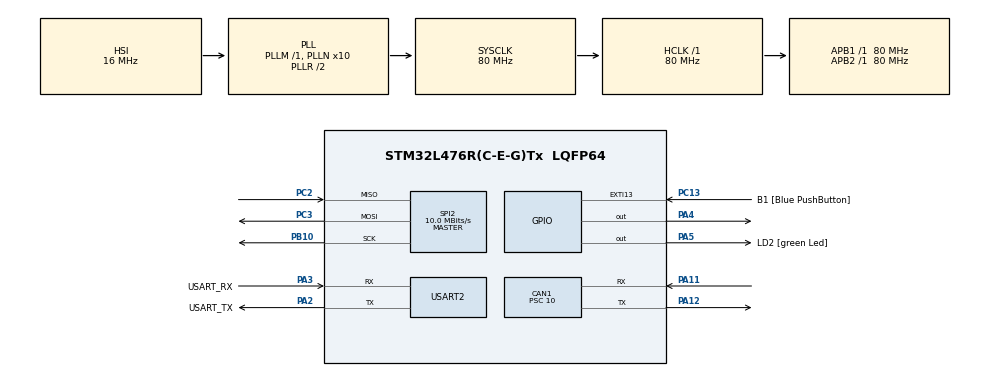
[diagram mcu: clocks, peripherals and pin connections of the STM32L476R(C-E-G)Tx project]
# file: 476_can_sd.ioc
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Mcu.Family=STM32L4
PC3.Mode=Full_Duplex_Master
PA2.GPIO_PuPd=GPIO_NOPULL
RCC.CortexFreq_Value=80000000
FATFS._USE_LFN=1
SPI2.VirtualType=VM_MASTER
PB10.Mode=Full_Duplex_Master
PH0-OSC_IN\ (PH0).Signal=RCC_OSC_IN
PA3.GPIO_PuPd=GPIO_NOPULL
PA2.GPIO_Speed=GPIO_SPEED_FREQ_VERY_HIGH
PA11.Mode=CAN_Activate
PC15-OSC32_OUT\ (PC15).Mode=LSE-External-Oscillator
PC13.GPIO_Label=B1 [Blue PushButton]
PA3.GPIO_Speed=GPIO_SPEED_FREQ_VERY_HIGH
RCC.SYSCLKSource=RCC_SYSCLKSOURCE_PLLCLK
ProjectManager.StackSize=0x400
PB3\ (JTDO-TRACESWO).Signal=SYS_JTDO-SWO
PC14-OSC32_IN\ (PC14).Mode=LSE-External-Oscillator
PA14\ (JTCK-SWCLK).Signal=SYS_JTCK-SWCLK
PA12.Signal=CAN1_TX
RCC.HCLKFreq_Value=80000000
RCC.APB2TimFreq_Value=80000000
PC3.Signal=SPI2_MOSI
RCC.AHBFreq_Value=80000000
RCC.PREFETCH_ENABLE=1
SPI2.BaudRatePrescaler=SPI_BAUDRATEPRESCALER_8
NVIC.EXTI15_10_IRQn=true\:2\:0\:true\:false\:true\:true\:true
RCC.HSE_VALUE=8000000
USART2.VirtualMode-Asynchronous=VM_ASYNC
PA4.GPIO_Speed=GPIO_SPEED_FREQ_MEDIUM
PA5.GPIO_PuPd=GPIO_NOPULL
PC13.GPIO_PuPd=GPIO_NOPULL
SPI2.CalculateBaudRate=10.0 MBits/s
CAN1.Prescaler=10
Mcu.Package=LQFP64
SPI2.Mode=SPI_MODE_MASTER
PA2.GPIO_Label=USART_TX
RCC.APB1TimFreq_Value=80000000
SPI2.Direction=SPI_DIRECTION_2LINES
PA13\ (JTMS-SWDIO).Signal=SYS_JTMS-SWDIO
CAN1.CalculateTimeBit=2000.00
PA3.Signal=USART2_RX
CAN1.CalculateTimeQuantum=125.0
PA2.GPIO_Mode=GPIO_MODE_AF_PP
RCC.MSI_VALUE=4000000
RCC.PLLSourceVirtual=RCC_PLLSOURCE_HSI
PA14\ (JTCK-SWCLK).Mode=Serial_Wire
PC13.Signal=GPXTI13
CAN1.CalculateBaudRate=500000
PC2.Signal=SPI2_MISO
PC2.Mode=Full_Duplex_Master
PC15-OSC32_OUT\ (PC15).Signal=RCC_OSC32_OUT
PA14\ (JTCK-SWCLK).GPIO_Label=TCK
PB3\ (JTDO-TRACESWO).GPIO_Label=SWO
PH1-OSC_OUT\ (PH1).Signal=RCC_OSC_OUT
PA3.Mode=Asynchronous
PA4.PinState=GPIO_PIN_SET
CAN1.BS2=CAN_BS2_2TQ
CAN1.BS1=CAN_BS1_13TQ
ProjectManager.TargetToolchain=STM32CubeIDE
PA3.GPIO_Mode=GPIO_MODE_AF_PP
RCC.USBFreq_Value=64000000
VP_FATFS_VS_Generic.Mode=User_defined
CAN1.ABOM=ENABLE
PB10.Signal=SPI2_SCK
PA5.Signal=GPIO_Output
board=NUCLEO-L476RG
RCC.VCOOutputFreq_Value=160000000
RCC.APB2Freq_Value=80000000
PA5.GPIO_ModeDefaultOutputPP=GPIO_MODE_OUTPUT_PP
PA13\ (JTMS-SWDIO).GPIO_Label=TMS
RCC.ADCFreq_Value=64000000
Mcu.Name=STM32L476R(C-E-G)Tx
PA2.Signal=USART2_TX
FATFS._MAX_SS=4096
PA13\ (JTMS-SWDIO).Mode=Serial_Wire
PA4.Signal=GPIO_Output
RCC.SYSCLKFreq_VALUE=80000000
PA12.Mode=CAN_Activate
PA5.GPIO_Label=LD2 [green Led]
PC13.GPIO_ModeDefaultEXTI=GPIO_MODE_IT_FALLING
PC14-OSC32_IN\ (PC14).Signal=RCC_OSC32_IN
PA11.Signal=CAN1_RX
ProjectManager.HeapSize=0x200
RCC.HSI_VALUE=16000000
PA5.GPIO_Speed=GPIO_SPEED_FREQ_LOW
NVIC.PriorityGroup=NVIC_PRIORITYGROUP_4
RCC.PLLN=10
PA2.Mode=Asynchronous
SPI2.DataSize=SPI_DATASIZE_8BIT
RCC.APB1Freq_Value=80000000
NVIC.CAN1_RX0_IRQn=true\:1\:0\:true\:false\:true\:true\:true
PA3.GPIO_Label=USART_RX

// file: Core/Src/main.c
/* USER CODE BEGIN Header */
/**
 ******************************************************************************
 * @file           : main.c
 * @brief          : Main program body
 ******************************************************************************
 * @attention
 *
 * <h2><center>&copy; Copyright (c) 2021 STMicroelectronics.
 * All rights reserved.</center></h2>
 *
 * This software component is licensed by ST under BSD 3-Clause license,
 * the "License"; You may not use this file except in compliance with the
 * License. You may obtain a copy of the License at:
 *                        opensource.org/licenses/BSD-3-Clause
 *
 ******************************************************************************
 */
/* USER CODE END Header */
#include "main.h"
#include "fatfs.h"

/* USER CODE BEGIN Includes */

#include "fatfs_sd.h"
#include "string.h"
#include "stdio.h"
#include "can_sd.h"
/* USER CODE END Includes */

/* USER CODE BEGIN PD */

SPI_HandleTypeDef hspi2;
FATFS fs;
FATFS *pfs;
FIL fil;
FRESULT fres;
DWORD fre_clust;
uint32_t totalSpace, freeSpace;
char buffer[100];

/* USER CODE END PD */

CAN_HandleTypeDef hcan1;

SPI_HandleTypeDef hspi2;

UART_HandleTypeDef huart2;

/* USER CODE BEGIN PV */

static CAN_RxHeaderTypeDef RxHeader;

static uint8_t RxData[8];

static CAN_TxHeaderTypeDef TxHeader;
static uint32_t TxMailbox;
static uint8_t TxData[8];

/* USER CODE END PV */

void SystemClock_Config(void);
static void MX_GPIO_Init(void);
static void MX_USART2_UART_Init(void);
static void MX_CAN1_Init(void);
static void MX_SPI2_Init(void);

int main(void)
{

	/* MCU Configuration--------------------------------------------------------*/

	/* Reset of all peripherals, Initializes the Flash interface and the Systick. */
	HAL_Init();

	/* USER CODE BEGIN Init */

	// sending to UART
	void transmit_uart(char *string) {
		uint8_t len = strlen(string);
		HAL_UART_Transmit(&huart2, (uint8_t*) string, len, 200);
	}

	/* USER CODE END Init */

	/* Configure the system clock */
	SystemClock_Config();

	/* Initialize all configured peripherals */
	MX_GPIO_Init();
	MX_USART2_UART_Init();
	MX_CAN1_Init();
	MX_SPI2_Init();
	MX_FATFS_Init();
	/* USER CODE BEGIN 2 */
	File_Init();
	/* Waiting for the Micro SD module to initialize */
	HAL_Delay(500);

	/*functions to interact with SD-card
	//mounts the SDcard
	fres = f_mount(&fs, "", 0);
	if (fres == FR_OK) {
		transmit_uart("The SD card is mounted successfully!\n");
	} else if (fres != FR_OK) {
		transmit_uart("The SD card's mount error!\n");
	}

	//opens file if it exists and if not then creates it
	fres = f_open(&fil, "log-file.txt", FA_OPEN_APPEND | FA_WRITE | FA_READ);
	if (fres == FR_OK) {
		transmit_uart("File opened for reading and checking the free space.\n");
	} else if (fres != FR_OK) {
		transmit_uart("File was not opened for reading and checking the free space!\n");
	}

	//get free memory on SDcard
	fres = f_getfree("", &fre_clust, &pfs);
	totalSpace = (uint32_t) ((pfs->n_fatent - 2) * pfs->csize * 0.5);
	freeSpace = (uint32_t) (fre_clust * pfs->csize * 0.5);
	char mSz[12];
	sprintf(mSz, "%lu", freeSpace);
	if (fres == FR_OK) {
		transmit_uart("The free space is: ");
		transmit_uart(mSz);
		transmit_uart("\n");
	} else if (fres != FR_OK) {
		transmit_uart("Free space could not be determined\n");
	}

	//writes on the SDcard
	for (uint8_t i = 0; i < 5; i++) {
		f_puts("This is written on the SD card\n", &fil);
	}

	// close file
	fres = f_close(&fil);
	if (fres == FR_OK) {
		transmit_uart("The file is closed.\n");
	} else if (fres != FR_OK) {
		transmit_uart("The file was not closed.\n");
	}

	// Open file to read
	fres = f_open(&fil, "log-file.txt", FA_READ);
	if (fres == FR_OK) {
		transmit_uart("File opened for reading.\n");
	} else if (fres != FR_OK) {
		transmit_uart("File was not opened for reading!\n");
	}

	while (f_gets(buffer, sizeof(buffer), &fil)) {
		char mRd[100];
		sprintf(mRd, "%s", buffer);
		transmit_uart(mRd);

	}

	//Close file
	fres = f_close(&fil);
	if (fres == FR_OK) {
		transmit_uart("The file is closed.\n");
	} else if (fres != FR_OK) {
		transmit_uart("The file was not closed.\n");
	}

	//Unmounts SDcard
	f_mount(NULL, "", 1);
	if (fres == FR_OK) {
		transmit_uart("Micro SD card is unmounted\n");
	} else if (fres != FR_OK) {
		transmit_uart("Micro SD was not unmounted");
	}*/

	/* USER CODE END 2 */

	/* Infinite loop */
	/* USER CODE BEGIN WHILE */
//	fres = f_mount(&fs, "", 0);
//	fres = f_open(&fil, "log-file.txt", FA_OPEN_APPEND | FA_WRITE | FA_READ);
//	f_printf(&fil, "start\n");
	while (1)
	{
		if (HAL_CAN_GetRxFifoFillLevel(&hcan1, CAN_RX_FIFO0))
		{
			if (HAL_CAN_GetRxMessage(&hcan1, CAN_RX_FIFO0, &RxHeader, RxData) !=HAL_OK)
			{
				Error_Handler();
			}

			f_printf( &fil, "%d\n", RxData[0]); //write recieved data to SD-card
			f_sync(&fil);
			Blink(10); //to notify user when msg is recieved and written
		}
		/* USER CODE END WHILE */

		/* USER CODE BEGIN 3 */
	}

	fres = f_close(&fil);
	/* USER CODE END 3 */
}

void SystemClock_Config(void)
{
	RCC_OscInitTypeDef RCC_OscInitStruct = {0};
	RCC_ClkInitTypeDef RCC_ClkInitStruct = {0};
	RCC_PeriphCLKInitTypeDef PeriphClkInit = {0};

	/** Initializes the RCC Oscillators according to the specified parameters
	 * in the RCC_OscInitTypeDef structure.
	 */
	RCC_OscInitStruct.OscillatorType = RCC_OSCILLATORTYPE_HSI;
	RCC_OscInitStruct.HSIState = RCC_HSI_ON;
	RCC_OscInitStruct.HSICalibrationValue = RCC_HSICALIBRATION_DEFAULT;
	RCC_OscInitStruct.PLL.PLLState = RCC_PLL_ON;
	RCC_OscInitStruct.PLL.PLLSource = RCC_PLLSOURCE_HSI;
	RCC_OscInitStruct.PLL.PLLM = 1;
	RCC_OscInitStruct.PLL.PLLN = 10;
	RCC_OscInitStruct.PLL.PLLP = RCC_PLLP_DIV7;
	RCC_OscInitStruct.PLL.PLLQ = RCC_PLLQ_DIV2;
	RCC_OscInitStruct.PLL.PLLR = RCC_PLLR_DIV2;
	if (HAL_RCC_OscConfig(&RCC_OscInitStruct) != HAL_OK)
	{
		Error_Handler();
	}
	/** Initializes the CPU, AHB and APB buses clocks
	 */
	RCC_ClkInitStruct.ClockType = RCC_CLOCKTYPE_HCLK|RCC_CLOCKTYPE_SYSCLK
			|RCC_CLOCKTYPE_PCLK1|RCC_CLOCKTYPE_PCLK2;
	RCC_ClkInitStruct.SYSCLKSource = RCC_SYSCLKSOURCE_PLLCLK;
	RCC_ClkInitStruct.AHBCLKDivider = RCC_SYSCLK_DIV1;
	RCC_ClkInitStruct.APB1CLKDivider = RCC_HCLK_DIV1;
	RCC_ClkInitStruct.APB2CLKDivider = RCC_HCLK_DIV1;

	if (HAL_RCC_ClockConfig(&RCC_ClkInitStruct, FLASH_LATENCY_4) != HAL_OK)
	{
		Error_Handler();
	}
	PeriphClkInit.PeriphClockSelection = RCC_PERIPHCLK_USART2;
	PeriphClkInit.Usart2ClockSelection = RCC_USART2CLKSOURCE_PCLK1;
	if (HAL_RCCEx_PeriphCLKConfig(&PeriphClkInit) != HAL_OK)
	{
		Error_Handler();
	}
	/** Configure the main internal regulator output voltage
	 */
	if (HAL_PWREx_ControlVoltageScaling(PWR_REGULATOR_VOLTAGE_SCALE1) != HAL_OK)
	{
		Error_Handler();
	}
}

static void MX_CAN1_Init(void)
{

	hcan1.Instance = CAN1;
	hcan1.Init.Prescaler = 10;
	hcan1.Init.Mode = CAN_MODE_NORMAL;
	hcan1.Init.SyncJumpWidth = CAN_SJW_1TQ;
	hcan1.Init.TimeSeg1 = CAN_BS1_13TQ;
	hcan1.Init.TimeSeg2 = CAN_BS2_2TQ;
	hcan1.Init.TimeTriggeredMode = DISABLE;
	hcan1.Init.AutoBusOff = ENABLE;
	hcan1.Init.AutoWakeUp = DISABLE;
	hcan1.Init.AutoRetransmission = DISABLE;
	hcan1.Init.ReceiveFifoLocked = DISABLE;
	hcan1.Init.TransmitFifoPriority = DISABLE;
	if (HAL_CAN_Init(&hcan1) != HAL_OK)
	{
		Error_Handler();
	}
	/* USER CODE BEGIN CAN1_Init 2 */

	CAN_FilterTypeDef canfilterconfig;

	canfilterconfig.FilterActivation = CAN_FILTER_ENABLE;
	canfilterconfig.FilterBank = 10;
	canfilterconfig.FilterFIFOAssignment = CAN_RX_FIFO0;
	canfilterconfig.FilterIdHigh = 0;
	canfilterconfig.FilterIdLow = 0x0000;
	canfilterconfig.FilterMaskIdHigh = 0;
	canfilterconfig.FilterMaskIdLow = 0x0000;
	canfilterconfig.FilterMode = CAN_FILTERMODE_IDMASK;
	canfilterconfig.FilterScale = CAN_FILTERSCALE_32BIT;
	//canfilterconfig.SlaveStartFilterBank = 0;

	HAL_CAN_ConfigFilter(&hcan1, &canfilterconfig);

	HAL_CAN_Start(&hcan1);

	TxHeader.StdId = 1337;
	TxHeader.ExtId = 0;
	TxHeader.IDE = CAN_ID_STD;
	TxHeader.RTR = CAN_RTR_DATA;

	/* USER CODE END CAN1_Init 2 */

}

static void MX_SPI2_Init(void)
{

	/* SPI2 parameter configuration*/
	hspi2.Instance = SPI2;
	hspi2.Init.Mode = SPI_MODE_MASTER;
	hspi2.Init.Direction = SPI_DIRECTION_2LINES;
	hspi2.Init.DataSize = SPI_DATASIZE_8BIT;
	hspi2.Init.CLKPolarity = SPI_POLARITY_LOW;
	hspi2.Init.CLKPhase = SPI_PHASE_1EDGE;
	hspi2.Init.NSS = SPI_NSS_SOFT;
	hspi2.Init.BaudRatePrescaler = SPI_BAUDRATEPRESCALER_8;
	hspi2.Init.FirstBit = SPI_FIRSTBIT_MSB;
	hspi2.Init.TIMode = SPI_TIMODE_DISABLE;
	hspi2.Init.CRCCalculation = SPI_CRCCALCULATION_DISABLE;
	hspi2.Init.CRCPolynomial = 7;
	hspi2.Init.CRCLength = SPI_CRC_LENGTH_DATASIZE;
	hspi2.Init.NSSPMode = SPI_NSS_PULSE_ENABLE;
	if (HAL_SPI_Init(&hspi2) != HAL_OK)
	{
		Error_Handler();
	}

}

static void MX_USART2_UART_Init(void)
{

	huart2.Instance = USART2;
	huart2.Init.BaudRate = 115200;
	huart2.Init.WordLength = UART_WORDLENGTH_8B;
	huart2.Init.StopBits = UART_STOPBITS_1;
	huart2.Init.Parity = UART_PARITY_NONE;
	huart2.Init.Mode = UART_MODE_TX_RX;
	huart2.Init.HwFlowCtl = UART_HWCONTROL_NONE;
	huart2.Init.OverSampling = UART_OVERSAMPLING_16;
	huart2.Init.OneBitSampling = UART_ONE_BIT_SAMPLE_DISABLE;
	huart2.AdvancedInit.AdvFeatureInit = UART_ADVFEATURE_NO_INIT;
	if (HAL_UART_Init(&huart2) != HAL_OK)
	{
		Error_Handler();
	}

}

static void MX_GPIO_Init(void)
{
	GPIO_InitTypeDef GPIO_InitStruct = {0};

	/* GPIO Ports Clock Enable */
	__HAL_RCC_GPIOC_CLK_ENABLE();
	__HAL_RCC_GPIOH_CLK_ENABLE();
	__HAL_RCC_GPIOA_CLK_ENABLE();
	__HAL_RCC_GPIOB_CLK_ENABLE();

	/*Configure GPIO pin Output Level */
	HAL_GPIO_WritePin(GPIOA, GPIO_PIN_4, GPIO_PIN_SET);

	/*Configure GPIO pin Output Level */
	HAL_GPIO_WritePin(LD2_GPIO_Port, LD2_Pin, GPIO_PIN_RESET);

	/*Configure GPIO pin : B1_Pin */
	GPIO_InitStruct.Pin = B1_Pin;
	GPIO_InitStruct.Mode = GPIO_MODE_IT_FALLING;
	GPIO_InitStruct.Pull = GPIO_NOPULL;
	HAL_GPIO_Init(B1_GPIO_Port, &GPIO_InitStruct);

	/*Configure GPIO pin : PA4 */
	GPIO_InitStruct.Pin = GPIO_PIN_4;
	GPIO_InitStruct.Mode = GPIO_MODE_OUTPUT_PP;
	GPIO_InitStruct.Pull = GPIO_NOPULL;
	GPIO_InitStruct.Speed = GPIO_SPEED_FREQ_MEDIUM;
	HAL_GPIO_Init(GPIOA, &GPIO_InitStruct);

	/*Configure GPIO pin : LD2_Pin */
	GPIO_InitStruct.Pin = LD2_Pin;
	GPIO_InitStruct.Mode = GPIO_MODE_OUTPUT_PP;
	GPIO_InitStruct.Pull = GPIO_NOPULL;
	GPIO_InitStruct.Speed = GPIO_SPEED_FREQ_LOW;
	HAL_GPIO_Init(LD2_GPIO_Port, &GPIO_InitStruct);

	/* EXTI interrupt init*/
	HAL_NVIC_SetPriority(EXTI15_10_IRQn, 2, 0);
	HAL_NVIC_EnableIRQ(EXTI15_10_IRQn);

}

/* USER CODE BEGIN 4 */
//initialize SD_card
static void File_Init(void){
	fres = f_mount(&fs, "", 0);
	fres = f_open(&fil, "log-file.txt", FA_OPEN_APPEND | FA_WRITE | FA_READ);
	f_printf(&fil, "start\n");
}

void HAL_CAN_RxFifo0MsgPendingCallback(CAN_HandleTypeDef *hcan)
{
	if (HAL_CAN_GetRxMessage(&hcan1, CAN_RX_FIFO0, &RxHeader, RxData) != HAL_OK)
	{
		Error_Handler();
	}
	Blink(50);
}

void HAL_GPIO_EXTI_Callback(uint16_t GPIO_Pin)
{
	static uint8_t counter = 0;
	if(GPIO_Pin == B1_Pin)
	{

		TxData[0] = counter++;
		TxHeader.DLC = 1;
		if (HAL_CAN_AddTxMessage(&hcan1, &TxHeader, TxData, &TxMailbox) != HAL_OK)
		{
			Error_Handler();
		}
	}
	Blink(100);
}
//function to blink with LD2
void Blink(uint16_t ms)
{
	HAL_GPIO_WritePin(LD2_GPIO_Port, LD2_Pin, GPIO_PIN_SET);
	HAL_Delay(ms);
	HAL_GPIO_WritePin(LD2_GPIO_Port, LD2_Pin, GPIO_PIN_RESET);
}

/* USER CODE END 4 */

void Error_Handler(void)
{
	__disable_irq();
	while (1)
	{
	}
}

/************************ (C) COPYRIGHT STMicroelectronics *****END OF FILE****/
